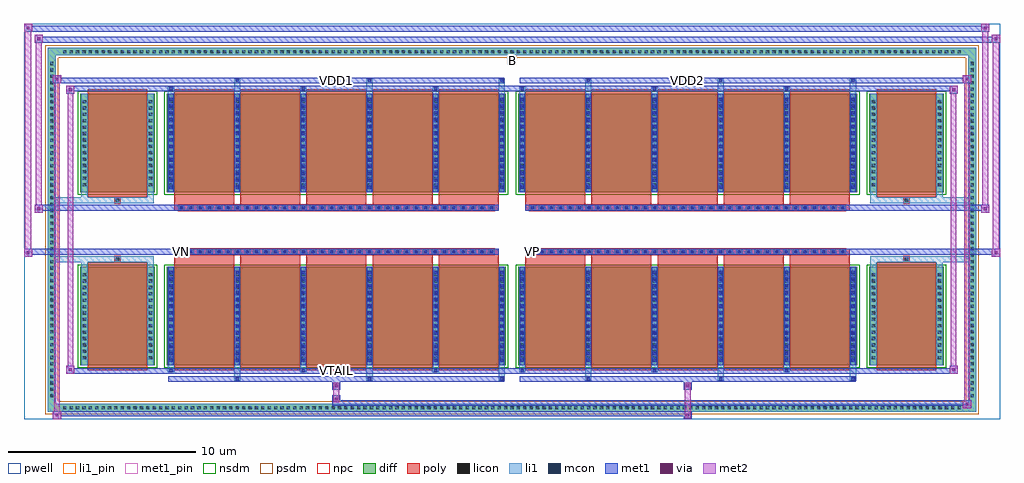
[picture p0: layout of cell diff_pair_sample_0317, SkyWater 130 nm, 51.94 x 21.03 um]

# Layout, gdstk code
import gdstk
lib = gdstk.Library(unit=1e-6, precision=5e-09)
def R(c, l, rs):  # rectangles x0, y0, x1, y1
    for r in rs: c.add(gdstk.rectangle(r[:2], r[2:], *l))
def A(c, l, x, y, w, h, nx, ny, dx, dy):  # array of equal rectangles
    R(c, l, [(x+i*dx, y+j*dy, x+i*dx+w, y+j*dy+h) for i in range(nx) for j in range(ny)])
def P(c, l, *ps):  # polygons
    for p in ps: c.add(gdstk.Polygon(p, *l))
pwell = (64, 44)
diff = (65, 20)
poly = (66, 20)
licon = (66, 44)
li1_pin = (67, 16)
li1 = (67, 20)
mcon = (67, 44)
met1_pin = (68, 16)
met1 = (68, 20)
via = (68, 44)
met2 = (69, 20)
nsdm = (93, 44)
psdm = (94, 20)
npc = (95, 20)

diff_pair_sample_0317 = lib.new_cell('diff_pair_sample_0317')
R(diff_pair_sample_0317, pwell, [(-25.97,-10.08,25.97,10.95), (-23.29,-8.27,-0.01,-0.805), (0.01,-8.27,23.29,-0.805), (-23.29,0.805,-0.01,8.27), (0.01,0.805,23.29,8.27)])
A(diff_pair_sample_0317, diff, -24.005, -9.68, 0.41, 0.41, 141, 2, 0.34, 18.95)
A(diff_pair_sample_0317, diff, -24.7, -9.045, 0.41, 0.41, 1, 53, 0, 0.34)
A(diff_pair_sample_0317, diff, 24.29, -9.045, 0.41, 0.41, 1, 53, 0, 0.34)
R(diff_pair_sample_0317, diff, [(-24.005,-9.68,24.005,-9.27), (-24.7,-9.045,-24.29,9.045), (24.29,-9.045,24.7,9.045), (-22.98,-7.225,-19.01,-1.985), (-18.37,-7.225,-0.32,-1.985), (0.32,-7.225,18.37,-1.985), (19.01,-7.225,22.98,-1.985), (-22.98,1.985,-19.01,7.225), (-18.37,1.985,-0.32,7.225), (0.32,1.985,18.37,7.225), (19.01,1.985,22.98,7.225), (-24.005,9.27,24.005,9.68)])
P(diff_pair_sample_0317, diff, [(24.7,9.68),(-24.7,9.68),(-24.7,-9.27),(-24.29,-9.27),(-24.29,9.27),(24.29,9.27),(24.29,-9.27),(-24.29,-9.27),(-24.7,-9.27),(-24.7,-9.68),(24.7,-9.68)])
A(diff_pair_sample_0317, poly, -17.98, -7.475, 3.19, 5.74, 5, 2, 3.52, 9.21)
A(diff_pair_sample_0317, poly, 0.71, -7.475, 3.19, 5.74, 5, 2, 3.52, 9.21)
A(diff_pair_sample_0317, poly, -17.98, -1.735, 3.19, 0.4, 5, 2, 3.52, 3.07)
A(diff_pair_sample_0317, poly, 0.71, -1.735, 3.19, 0.4, 5, 2, 3.52, 3.07)
A(diff_pair_sample_0317, poly, -17.76, -1.335, 0.33, 0.33, 34, 2, 0.5, 2.34)
A(diff_pair_sample_0317, poly, 0.93, -1.335, 0.33, 0.33, 34, 2, 0.5, 2.34)
R(diff_pair_sample_0317, poly, [(-22.59,-7.475,-19.4,-1.735), (19.4,-7.475,22.59,-1.735), (-21.16,-1.735,-20.83,-1.405), (-21.16,-1.735,-20.83,-1.405), (20.83,-1.735,21.16,-1.405), (20.83,-1.735,21.16,-1.405), (-17.98,-1.335,-0.71,-1.005), (0.71,-1.335,17.98,-1.005), (-17.98,1.005,-0.71,1.335), (0.71,1.005,17.98,1.335), (-21.16,1.405,-20.83,1.735), (-21.16,1.405,-20.83,1.735), (20.83,1.405,21.16,1.735), (20.83,1.405,21.16,1.735), (-22.59,1.735,-19.4,7.475), (19.4,1.735,22.59,7.475)])
A(diff_pair_sample_0317, licon, -23.885, -9.56, 0.17, 0.17, 141, 2, 0.34, 18.95)
A(diff_pair_sample_0317, licon, -24.58, -8.925, 0.17, 0.17, 1, 53, 0, 0.34)
A(diff_pair_sample_0317, licon, 24.41, -8.925, 0.17, 0.17, 1, 53, 0, 0.34)
A(diff_pair_sample_0317, licon, -22.84, -6.9, 0.17, 0.17, 1, 14, 0, 0.34)
A(diff_pair_sample_0317, licon, -19.32, -6.9, 0.17, 0.17, 1, 14, 0, 0.34)
A(diff_pair_sample_0317, licon, -18.23, -6.9, 0.17, 0.17, 6, 14, 3.52, 0.34)
A(diff_pair_sample_0317, licon, 0.46, -6.9, 0.17, 0.17, 6, 14, 3.52, 0.34)
A(diff_pair_sample_0317, licon, 19.15, -6.9, 0.17, 0.17, 1, 14, 0, 0.34)
A(diff_pair_sample_0317, licon, 22.67, -6.9, 0.17, 0.17, 1, 14, 0, 0.34)
A(diff_pair_sample_0317, licon, -17.68, -1.255, 0.17, 0.17, 34, 2, 0.5, 2.34)
A(diff_pair_sample_0317, licon, 1.01, -1.255, 0.17, 0.17, 34, 2, 0.5, 2.34)
A(diff_pair_sample_0317, licon, -22.84, 2.31, 0.17, 0.17, 1, 14, 0, 0.34)
A(diff_pair_sample_0317, licon, -19.32, 2.31, 0.17, 0.17, 1, 14, 0, 0.34)
A(diff_pair_sample_0317, licon, -18.23, 2.31, 0.17, 0.17, 6, 14, 3.52, 0.34)
A(diff_pair_sample_0317, licon, 0.46, 2.31, 0.17, 0.17, 6, 14, 3.52, 0.34)
A(diff_pair_sample_0317, licon, 19.15, 2.31, 0.17, 0.17, 1, 14, 0, 0.34)
A(diff_pair_sample_0317, licon, 22.67, 2.31, 0.17, 0.17, 1, 14, 0, 0.34)
R(diff_pair_sample_0317, licon, [(-21.08,-1.655,-20.91,-1.485), (20.91,-1.655,21.08,-1.485), (-21.08,1.485,-20.91,1.655), (20.91,1.485,21.08,1.655)])
R(diff_pair_sample_0317, li1_pin, [(-0.25,8.77,0.25,9.27)])
A(diff_pair_sample_0317, li1, -23.965, -9.64, 0.33, 0.33, 141, 2, 0.34, 18.95)
A(diff_pair_sample_0317, li1, -24.66, -9.005, 0.33, 0.33, 1, 53, 0, 0.34)
A(diff_pair_sample_0317, li1, 24.33, -9.005, 0.33, 0.33, 1, 53, 0, 0.34)
A(diff_pair_sample_0317, li1, -14.79, -8.03, 0.33, 0.805, 3, 2, 7.04, 15.255)
A(diff_pair_sample_0317, li1, -14.71, -8.03, 0.17, 0.17, 3, 2, 7.04, 15.89)
A(diff_pair_sample_0317, li1, 3.9, -8.03, 0.33, 0.805, 3, 2, 7.04, 15.255)
A(diff_pair_sample_0317, li1, 3.98, -8.03, 0.17, 0.17, 3, 2, 7.04, 15.89)
A(diff_pair_sample_0317, li1, -18.31, -7.6, 0.33, 0.375, 3, 2, 7.04, 14.825)
A(diff_pair_sample_0317, li1, -18.23, -7.6, 0.17, 0.17, 3, 2, 7.04, 15.03)
A(diff_pair_sample_0317, li1, 0.38, -7.6, 0.33, 0.375, 3, 2, 7.04, 14.825)
A(diff_pair_sample_0317, li1, 0.46, -7.6, 0.17, 0.17, 3, 2, 7.04, 15.03)
A(diff_pair_sample_0317, li1, -18.31, -7.225, 0.33, 5.24, 6, 2, 3.52, 9.21)
A(diff_pair_sample_0317, li1, 0.38, -7.225, 0.33, 5.24, 6, 2, 3.52, 9.21)
A(diff_pair_sample_0317, li1, -18.23, -7.03, 0.17, 0.17, 6, 14, 3.52, 0.36)
A(diff_pair_sample_0317, li1, -18.23, -7.03, 0.17, 4.85, 6, 2, 3.52, 9.21)
A(diff_pair_sample_0317, li1, 0.46, -7.03, 0.17, 0.17, 6, 14, 3.52, 0.36)
A(diff_pair_sample_0317, li1, 0.46, -7.03, 0.17, 4.85, 6, 2, 3.52, 9.21)
A(diff_pair_sample_0317, li1, -22.92, -6.98, 0.33, 0.33, 1, 14, 0, 0.34)
A(diff_pair_sample_0317, li1, -19.4, -6.98, 0.33, 0.33, 1, 14, 0, 0.34)
A(diff_pair_sample_0317, li1, -18.31, -6.98, 0.33, 0.33, 6, 14, 3.52, 0.34)
A(diff_pair_sample_0317, li1, 0.38, -6.98, 0.33, 0.33, 6, 14, 3.52, 0.34)
A(diff_pair_sample_0317, li1, 19.07, -6.98, 0.33, 0.33, 1, 14, 0, 0.34)
A(diff_pair_sample_0317, li1, 22.59, -6.98, 0.33, 0.33, 1, 14, 0, 0.34)
A(diff_pair_sample_0317, li1, -17.76, -1.335, 0.33, 0.33, 34, 2, 0.5, 2.34)
A(diff_pair_sample_0317, li1, 0.93, -1.335, 0.33, 0.33, 34, 2, 0.5, 2.34)
A(diff_pair_sample_0317, li1, -18.23, 2.18, 0.17, 0.17, 6, 14, 3.52, 0.36)
A(diff_pair_sample_0317, li1, 0.46, 2.18, 0.17, 0.17, 6, 14, 3.52, 0.36)
A(diff_pair_sample_0317, li1, -22.92, 2.23, 0.33, 0.33, 1, 14, 0, 0.34)
A(diff_pair_sample_0317, li1, -19.4, 2.23, 0.33, 0.33, 1, 14, 0, 0.34)
A(diff_pair_sample_0317, li1, -18.31, 2.23, 0.33, 0.33, 6, 14, 3.52, 0.34)
A(diff_pair_sample_0317, li1, 0.38, 2.23, 0.33, 0.33, 6, 14, 3.52, 0.34)
A(diff_pair_sample_0317, li1, 19.07, 2.23, 0.33, 0.33, 1, 14, 0, 0.34)
A(diff_pair_sample_0317, li1, 22.59, 2.23, 0.33, 0.33, 1, 14, 0, 0.34)
R(diff_pair_sample_0317, li1, [(-24.7,-9.68,-24.29,-9.27), (-24.7,-9.68,-24.29,-9.27), (-24.29,-9.68,24.29,-9.27), (24.29,-9.68,24.7,-9.27), (24.29,-9.68,24.7,-9.27), (-24.7,-9.27,-24.29,9.27), (24.29,-9.27,24.7,9.27), (-22.92,-7.225,-22.59,-1.985), (-19.4,-7.225,-19.07,-1.985), (19.07,-7.225,19.4,-1.985), (22.59,-7.225,22.92,-1.985), (-22.92,-1.985,-22.59,-1.405), (-19.4,-1.985,-19.07,-1.405), (19.07,-1.985,19.4,-1.405), (22.59,-1.985,22.92,-1.405), (-24.7,-1.735,-21.16,-1.405), (-22.92,-1.735,-21.16,-1.405), (-21.16,-1.735,-20.83,-1.405), (-20.83,-1.735,-19.07,-1.405), (19.07,-1.735,20.83,-1.405), (20.83,-1.735,21.16,-1.405), (20.83,-1.735,24.7,-1.405), (21.16,-1.735,22.92,-1.405), (-24.7,1.405,-21.16,1.735), (-22.92,1.405,-21.16,1.735), (-22.92,1.405,-22.59,1.985), (-21.16,1.405,-20.83,1.735), (-20.83,1.405,-19.07,1.735), (-19.4,1.405,-19.07,1.985), (19.07,1.405,20.83,1.735), (19.07,1.405,19.4,1.985), (20.83,1.405,21.16,1.735), (20.83,1.405,24.7,1.735), (21.16,1.405,22.92,1.735), (22.59,1.405,22.92,1.985), (-22.92,1.985,-22.59,7.225), (-19.4,1.985,-19.07,7.225), (19.07,1.985,19.4,7.225), (22.59,1.985,22.92,7.225), (-24.7,9.27,-24.29,9.68), (-24.7,9.27,-24.29,9.68), (-24.29,9.27,24.29,9.68), (24.29,9.27,24.7,9.68), (24.29,9.27,24.7,9.68)])
A(diff_pair_sample_0317, mcon, -14.71, -8.03, 0.17, 0.17, 3, 2, 7.04, 15.89)
A(diff_pair_sample_0317, mcon, 3.98, -8.03, 0.17, 0.17, 3, 2, 7.04, 15.89)
A(diff_pair_sample_0317, mcon, -18.23, -7.6, 0.17, 0.17, 3, 2, 7.04, 15.03)
A(diff_pair_sample_0317, mcon, 0.46, -7.6, 0.17, 0.17, 3, 2, 7.04, 15.03)
A(diff_pair_sample_0317, mcon, -18.23, -7.03, 0.17, 0.17, 6, 14, 3.52, 0.36)
A(diff_pair_sample_0317, mcon, 0.46, -7.03, 0.17, 0.17, 6, 14, 3.52, 0.36)
A(diff_pair_sample_0317, mcon, -17.68, -1.255, 0.17, 0.17, 34, 2, 0.5, 2.34)
A(diff_pair_sample_0317, mcon, 1.01, -1.255, 0.17, 0.17, 34, 2, 0.5, 2.34)
A(diff_pair_sample_0317, mcon, -18.23, 2.18, 0.17, 0.17, 6, 14, 3.52, 0.36)
A(diff_pair_sample_0317, mcon, 0.46, 2.18, 0.17, 0.17, 6, 14, 3.52, 0.36)
R(diff_pair_sample_0317, met1_pin, [(-9.48,-7.64,-9.21,-7.37), (-17.73,-1.295,-17.46,-1.025), (0.96,-1.295,1.23,-1.025), (-9.48,7.82,-9.21,8.09), (9.21,7.82,9.48,8.09)])
A(diff_pair_sample_0317, met1, -14.77, -8.09, 0.29, 0.29, 3, 2, 7.04, 15.89)
A(diff_pair_sample_0317, met1, 3.92, -8.09, 0.29, 0.29, 3, 2, 7.04, 15.89)
A(diff_pair_sample_0317, met1, -18.29, -7.66, 0.29, 0.29, 3, 2, 7.04, 15.03)
A(diff_pair_sample_0317, met1, 0.4, -7.66, 0.29, 0.29, 3, 2, 7.04, 15.03)
A(diff_pair_sample_0317, met1, -18.29, -7.225, 0.29, 5.24, 6, 2, 3.52, 9.21)
A(diff_pair_sample_0317, met1, 0.4, -7.225, 0.29, 5.24, 6, 2, 3.52, 9.21)
A(diff_pair_sample_0317, met1, -18.29, -7.09, 0.29, 0.29, 6, 14, 3.52, 0.36)
A(diff_pair_sample_0317, met1, 0.4, -7.09, 0.29, 0.29, 6, 14, 3.52, 0.36)
A(diff_pair_sample_0317, met1, -17.74, -1.315, 0.29, 0.29, 34, 2, 0.5, 2.34)
A(diff_pair_sample_0317, met1, 0.95, -1.315, 0.29, 0.29, 34, 2, 0.5, 2.34)
A(diff_pair_sample_0317, met1, -18.29, 2.12, 0.29, 0.29, 6, 14, 3.52, 0.36)
A(diff_pair_sample_0317, met1, 0.4, 2.12, 0.29, 0.29, 6, 14, 3.52, 0.36)
R(diff_pair_sample_0317, met1, [(-24.43,-10.08,-24,-9.65), (9.13,-10.08,9.56,-9.65), (-24.43,-9.94,9.56,-9.65), (24,-9.51,24.43,-9.08), (-9.56,-9.37,24.43,-9.08), (-9.56,-9.23,-9.13,-8.8), (-9.56,-8.52,-9.13,-8.09), (9.13,-8.52,9.56,-8.09), (-18.29,-8.09,-0.4,-7.8), (0.4,-8.09,18.29,-7.8), (-23.72,-7.66,-23.29,-7.23), (-23.72,-7.66,-18.29,-7.37), (-18.29,-7.66,-0.4,-7.37), (-0.4,-7.66,0.4,-7.37), (0.4,-7.66,18.29,-7.37), (18.29,-7.66,23.72,-7.37), (23.29,-7.66,23.72,-7.23), (-25.97,-1.435,-25.54,-1.005), (25.54,-1.435,25.97,-1.005), (-25.97,-1.335,-0.71,-1.005), (-17.98,-1.335,-0.71,-1.005), (0.71,-1.335,17.98,-1.005), (0.71,-1.335,25.97,-1.005), (-25.4,0.905,-24.97,1.335), (24.97,0.905,25.4,1.335), (-25.4,1.005,-17.98,1.335), (-17.98,1.005,-0.71,1.335), (0.71,1.005,17.98,1.335), (17.98,1.005,25.4,1.335), (-23.72,7.23,-23.29,7.66), (23.29,7.23,23.72,7.66), (-23.72,7.37,-18.29,7.66), (-18.29,7.37,-0.4,7.66), (-0.4,7.37,0.4,7.66), (0.4,7.37,18.29,7.66), (18.29,7.37,23.72,7.66), (-24.43,7.8,-24,8.23), (-24.43,7.8,-18.29,8.09), (-18.29,7.8,-0.4,8.09), (0.4,7.8,18.29,8.09), (18.29,7.8,24.43,8.09), (24,7.8,24.43,8.23), (-25.4,9.95,-24.97,10.38), (-25.4,9.95,-23.29,10.28), (-23.29,9.95,23.29,10.28), (23.29,9.95,25.97,10.28), (25.54,9.95,25.97,10.38), (-25.97,10.52,-25.54,10.95), (-25.97,10.52,-23.29,10.85), (-23.29,10.52,23.29,10.85), (23.29,10.52,25.4,10.85), (24.97,10.52,25.4,10.95)])
R(diff_pair_sample_0317, via, [(-24.29,-9.94,-24.14,-9.79), (9.27,-9.94,9.42,-9.79), (24.14,-9.37,24.29,-9.22), (-9.42,-9.09,-9.27,-8.94), (-9.42,-8.38,-9.27,-8.23), (9.27,-8.38,9.42,-8.23), (-23.58,-7.52,-23.43,-7.37), (23.43,-7.52,23.58,-7.37), (-25.83,-1.295,-25.68,-1.145), (25.68,-1.295,25.83,-1.145), (-25.26,1.045,-25.11,1.195), (25.11,1.045,25.26,1.195), (-23.58,7.37,-23.43,7.52), (23.43,7.37,23.58,7.52), (-24.29,7.94,-24.14,8.09), (24.14,7.94,24.29,8.09), (-25.26,10.09,-25.11,10.24), (25.68,10.09,25.83,10.24), (-25.83,10.66,-25.68,10.81), (25.11,10.66,25.26,10.81)])
R(diff_pair_sample_0317, met2, [(-24.43,-10.08,-24,-9.65), (-24.36,-10.08,-24.07,8.23), (-24.07,-10.08,-24,-9.65), (-24.38,-10.03,-24.05,-9.7), (9.18,-10.03,9.51,-9.7), (9.18,-9.7,9.51,-8.47), (24,-9.51,24.43,-9.08), (24.07,-9.51,24.36,8.23), (24.36,-9.51,24.43,-9.08), (24.05,-9.46,24.38,-9.13), (-9.51,-9.18,-9.18,-8.85), (-9.51,-8.85,-9.18,-8.47), (-9.51,-8.47,-9.18,-8.14), (9.18,-8.47,9.51,-8.14), (-23.72,-7.66,-23.29,-7.23), (-23.65,-7.66,-23.36,7.66), (-23.36,-7.66,-23.29,-7.23), (23.29,-7.66,23.72,-7.23), (23.36,-7.66,23.65,7.66), (23.65,-7.66,23.72,-7.23), (-23.67,-7.61,-23.34,-7.28), (23.34,-7.61,23.67,-7.28), (-25.97,-1.435,-25.54,-1.005), (-25.92,-1.435,-25.59,10.95), (-25.59,-1.435,-25.54,-1.005), (25.54,-1.435,25.97,-1.005), (25.59,-1.435,25.92,10.38), (25.92,-1.435,25.97,-1.005), (-25.92,-1.385,-25.59,-1.055), (25.59,-1.385,25.92,-1.055), (-25.4,0.905,-24.97,1.335), (-25.35,0.905,-25.02,10.38), (-25.02,0.905,-24.97,1.335), (24.97,0.905,25.4,1.335), (25.02,0.905,25.35,10.95), (25.35,0.905,25.4,1.335), (-25.35,0.955,-25.02,1.285), (25.02,0.955,25.35,1.285), (-23.72,7.23,-23.29,7.66), (-23.36,7.23,-23.29,7.66), (23.29,7.23,23.72,7.66), (23.65,7.23,23.72,7.66), (-23.67,7.28,-23.34,7.61), (23.34,7.28,23.67,7.61), (-24.43,7.8,-24,8.23), (-24.07,7.8,-24,8.23), (24,7.8,24.43,8.23), (24.36,7.8,24.43,8.23), (-24.38,7.85,-24.05,8.18), (24.05,7.85,24.38,8.18), (-25.4,9.95,-24.97,10.38), (-25.02,9.95,-24.97,10.38), (25.54,9.95,25.97,10.38), (25.92,9.95,25.97,10.38), (-25.35,10,-25.02,10.33), (25.59,10,25.92,10.33), (-25.97,10.52,-25.54,10.95), (-25.59,10.52,-25.54,10.95), (24.97,10.52,25.4,10.95), (25.35,10.52,25.4,10.95), (-25.92,10.57,-25.59,10.9), (25.02,10.57,25.35,10.9)])
R(diff_pair_sample_0317, nsdm, [(-23.11,-7.355,-18.88,-1.855), (-18.5,-7.355,-0.19,-1.855), (0.19,-7.355,18.5,-1.855), (18.88,-7.355,23.11,-1.855), (-23.11,1.855,-18.88,7.355), (-18.5,1.855,-0.19,7.355), (0.19,1.855,18.5,7.355), (18.88,1.855,23.11,7.355)])
P(diff_pair_sample_0317, psdm, [(24.83,9.81),(-24.83,9.81),(-24.83,-9.14),(-24.16,-9.14),(-24.16,9.14),(24.16,9.14),(24.16,-9.14),(-24.16,-9.14),(-24.83,-9.14),(-24.83,-9.81),(24.83,-9.81)])
A(diff_pair_sample_0317, npc, -17.78, -1.355, 0.37, 0.37, 34, 2, 0.5, 2.34)
A(diff_pair_sample_0317, npc, 0.91, -1.355, 0.37, 0.37, 34, 2, 0.5, 2.34)
R(diff_pair_sample_0317, npc, [(-21.18,-1.755,-20.81,-1.385), (20.81,-1.755,21.18,-1.385), (-17.78,-1.355,-16.91,-0.985), (-17.78,-1.355,-16.91,-0.985), (-17.28,-1.355,-16.41,-0.985), (-17.28,-1.355,-16.41,-0.985), (-16.78,-1.355,-15.91,-0.985), (-16.78,-1.355,-15.91,-0.985), (-16.28,-1.355,-15.41,-0.985), (-16.28,-1.355,-15.41,-0.985), (-15.78,-1.355,-14.91,-0.985), (-15.78,-1.355,-14.91,-0.985), (-15.28,-1.355,-14.41,-0.985), (-15.28,-1.355,-14.41,-0.985), (-14.78,-1.355,-13.91,-0.985), (-14.78,-1.355,-13.91,-0.985), (-14.28,-1.355,-13.41,-0.985), (-14.28,-1.355,-13.41,-0.985), (-13.78,-1.355,-12.91,-0.985), (-13.78,-1.355,-12.91,-0.985), (-13.28,-1.355,-12.41,-0.985), (-13.28,-1.355,-12.41,-0.985), (-12.78,-1.355,-11.91,-0.985), (-12.78,-1.355,-11.91,-0.985), (-12.28,-1.355,-11.41,-0.985), (-12.28,-1.355,-11.41,-0.985), (-11.78,-1.355,-10.91,-0.985), (-11.78,-1.355,-10.91,-0.985), (-11.28,-1.355,-10.41,-0.985), (-11.28,-1.355,-10.41,-0.985), (-10.78,-1.355,-9.91,-0.985), (-10.78,-1.355,-9.91,-0.985), (-10.28,-1.355,-9.41,-0.985), (-10.28,-1.355,-9.41,-0.985), (-9.78,-1.355,-8.91,-0.985), (-9.78,-1.355,-8.91,-0.985), (-9.28,-1.355,-8.41,-0.985), (-9.28,-1.355,-8.41,-0.985), (-8.78,-1.355,-7.91,-0.985), (-8.78,-1.355,-7.91,-0.985), (-8.28,-1.355,-7.41,-0.985), (-8.28,-1.355,-7.41,-0.985), (-7.78,-1.355,-6.91,-0.985), (-7.78,-1.355,-6.91,-0.985), (-7.28,-1.355,-6.41,-0.985), (-7.28,-1.355,-6.41,-0.985), (-6.78,-1.355,-5.91,-0.985), (-6.78,-1.355,-5.91,-0.985), (-6.28,-1.355,-5.41,-0.985), (-6.28,-1.355,-5.41,-0.985), (-5.78,-1.355,-4.91,-0.985), (-5.78,-1.355,-4.91,-0.985), (-5.28,-1.355,-4.41,-0.985), (-5.28,-1.355,-4.41,-0.985), (-4.78,-1.355,-3.91,-0.985), (-4.78,-1.355,-3.91,-0.985), (-4.28,-1.355,-3.41,-0.985), (-4.28,-1.355,-3.41,-0.985), (-3.78,-1.355,-2.91,-0.985), (-3.78,-1.355,-2.91,-0.985), (-3.28,-1.355,-2.41,-0.985), (-3.28,-1.355,-2.41,-0.985), (-2.78,-1.355,-1.91,-0.985), (-2.78,-1.355,-1.91,-0.985), (-2.28,-1.355,-1.41,-0.985), (-2.28,-1.355,-1.41,-0.985), (-1.78,-1.355,-0.91,-0.985), (-1.78,-1.355,-0.91,-0.985), (0.91,-1.355,1.78,-0.985), (0.91,-1.355,1.78,-0.985), (1.41,-1.355,2.28,-0.985), (1.41,-1.355,2.28,-0.985), (1.91,-1.355,2.78,-0.985), (1.91,-1.355,2.78,-0.985), (2.41,-1.355,3.28,-0.985), (2.41,-1.355,3.28,-0.985), (2.91,-1.355,3.78,-0.985), (2.91,-1.355,3.78,-0.985), (3.41,-1.355,4.28,-0.985), (3.41,-1.355,4.28,-0.985), (3.91,-1.355,4.78,-0.985), (3.91,-1.355,4.78,-0.985), (4.41,-1.355,5.28,-0.985), (4.41,-1.355,5.28,-0.985), (4.91,-1.355,5.78,-0.985), (4.91,-1.355,5.78,-0.985), (5.41,-1.355,6.28,-0.985), (5.41,-1.355,6.28,-0.985), (5.91,-1.355,6.78,-0.985), (5.91,-1.355,6.78,-0.985), (6.41,-1.355,7.28,-0.985), (6.41,-1.355,7.28,-0.985), (6.91,-1.355,7.78,-0.985), (6.91,-1.355,7.78,-0.985), (7.41,-1.355,8.28,-0.985), (7.41,-1.355,8.28,-0.985), (7.91,-1.355,8.78,-0.985), (7.91,-1.355,8.78,-0.985), (8.41,-1.355,9.28,-0.985), (8.41,-1.355,9.28,-0.985), (8.91,-1.355,9.78,-0.985), (8.91,-1.355,9.78,-0.985), (9.41,-1.355,10.28,-0.985), (9.41,-1.355,10.28,-0.985), (9.91,-1.355,10.78,-0.985), (9.91,-1.355,10.78,-0.985), (10.41,-1.355,11.28,-0.985), (10.41,-1.355,11.28,-0.985), (10.91,-1.355,11.78,-0.985), (10.91,-1.355,11.78,-0.985), (11.41,-1.355,12.28,-0.985), (11.41,-1.355,12.28,-0.985), (11.91,-1.355,12.78,-0.985), (11.91,-1.355,12.78,-0.985), (12.41,-1.355,13.28,-0.985), (12.41,-1.355,13.28,-0.985), (12.91,-1.355,13.78,-0.985), (12.91,-1.355,13.78,-0.985), (13.41,-1.355,14.28,-0.985), (13.41,-1.355,14.28,-0.985), (13.91,-1.355,14.78,-0.985), (13.91,-1.355,14.78,-0.985), (14.41,-1.355,15.28,-0.985), (14.41,-1.355,15.28,-0.985), (14.91,-1.355,15.78,-0.985), (14.91,-1.355,15.78,-0.985), (15.41,-1.355,16.28,-0.985), (15.41,-1.355,16.28,-0.985), (15.91,-1.355,16.78,-0.985), (15.91,-1.355,16.78,-0.985), (16.41,-1.355,17.28,-0.985), (16.41,-1.355,17.28,-0.985), (16.91,-1.355,17.78,-0.985), (16.91,-1.355,17.78,-0.985), (-17.78,0.985,-16.91,1.355), (-17.78,0.985,-16.91,1.355), (-17.28,0.985,-16.41,1.355), (-17.28,0.985,-16.41,1.355), (-16.78,0.985,-15.91,1.355), (-16.78,0.985,-15.91,1.355), (-16.28,0.985,-15.41,1.355), (-16.28,0.985,-15.41,1.355), (-15.78,0.985,-14.91,1.355), (-15.78,0.985,-14.91,1.355), (-15.28,0.985,-14.41,1.355), (-15.28,0.985,-14.41,1.355), (-14.78,0.985,-13.91,1.355), (-14.78,0.985,-13.91,1.355), (-14.28,0.985,-13.41,1.355), (-14.28,0.985,-13.41,1.355), (-13.78,0.985,-12.91,1.355), (-13.78,0.985,-12.91,1.355), (-13.28,0.985,-12.41,1.355), (-13.28,0.985,-12.41,1.355), (-12.78,0.985,-11.91,1.355), (-12.78,0.985,-11.91,1.355), (-12.28,0.985,-11.41,1.355), (-12.28,0.985,-11.41,1.355), (-11.78,0.985,-10.91,1.355), (-11.78,0.985,-10.91,1.355), (-11.28,0.985,-10.41,1.355), (-11.28,0.985,-10.41,1.355), (-10.78,0.985,-9.91,1.355), (-10.78,0.985,-9.91,1.355), (-10.28,0.985,-9.41,1.355), (-10.28,0.985,-9.41,1.355), (-9.78,0.985,-8.91,1.355), (-9.78,0.985,-8.91,1.355), (-9.28,0.985,-8.41,1.355), (-9.28,0.985,-8.41,1.355), (-8.78,0.985,-7.91,1.355), (-8.78,0.985,-7.91,1.355), (-8.28,0.985,-7.41,1.355), (-8.28,0.985,-7.41,1.355), (-7.78,0.985,-6.91,1.355), (-7.78,0.985,-6.91,1.355), (-7.28,0.985,-6.41,1.355), (-7.28,0.985,-6.41,1.355), (-6.78,0.985,-5.91,1.355), (-6.78,0.985,-5.91,1.355), (-6.28,0.985,-5.41,1.355), (-6.28,0.985,-5.41,1.355), (-5.78,0.985,-4.91,1.355), (-5.78,0.985,-4.91,1.355), (-5.28,0.985,-4.41,1.355), (-5.28,0.985,-4.41,1.355), (-4.78,0.985,-3.91,1.355), (-4.78,0.985,-3.91,1.355), (-4.28,0.985,-3.41,1.355), (-4.28,0.985,-3.41,1.355), (-3.78,0.985,-2.91,1.355), (-3.78,0.985,-2.91,1.355), (-3.28,0.985,-2.41,1.355), (-3.28,0.985,-2.41,1.355), (-2.78,0.985,-1.91,1.355), (-2.78,0.985,-1.91,1.355), (-2.28,0.985,-1.41,1.355), (-2.28,0.985,-1.41,1.355), (-1.78,0.985,-0.91,1.355), (-1.78,0.985,-0.91,1.355), (0.91,0.985,1.78,1.355), (0.91,0.985,1.78,1.355), (1.41,0.985,2.28,1.355), (1.41,0.985,2.28,1.355), (1.91,0.985,2.78,1.355), (1.91,0.985,2.78,1.355), (2.41,0.985,3.28,1.355), (2.41,0.985,3.28,1.355), (2.91,0.985,3.78,1.355), (2.91,0.985,3.78,1.355), (3.41,0.985,4.28,1.355), (3.41,0.985,4.28,1.355), (3.91,0.985,4.78,1.355), (3.91,0.985,4.78,1.355), (4.41,0.985,5.28,1.355), (4.41,0.985,5.28,1.355), (4.91,0.985,5.78,1.355), (4.91,0.985,5.78,1.355), (5.41,0.985,6.28,1.355), (5.41,0.985,6.28,1.355), (5.91,0.985,6.78,1.355), (5.91,0.985,6.78,1.355), (6.41,0.985,7.28,1.355), (6.41,0.985,7.28,1.355), (6.91,0.985,7.78,1.355), (6.91,0.985,7.78,1.355), (7.41,0.985,8.28,1.355), (7.41,0.985,8.28,1.355), (7.91,0.985,8.78,1.355), (7.91,0.985,8.78,1.355), (8.41,0.985,9.28,1.355), (8.41,0.985,9.28,1.355), (8.91,0.985,9.78,1.355), (8.91,0.985,9.78,1.355), (9.41,0.985,10.28,1.355), (9.41,0.985,10.28,1.355), (9.91,0.985,10.78,1.355), (9.91,0.985,10.78,1.355), (10.41,0.985,11.28,1.355), (10.41,0.985,11.28,1.355), (10.91,0.985,11.78,1.355), (10.91,0.985,11.78,1.355), (11.41,0.985,12.28,1.355), (11.41,0.985,12.28,1.355), (11.91,0.985,12.78,1.355), (11.91,0.985,12.78,1.355), (12.41,0.985,13.28,1.355), (12.41,0.985,13.28,1.355), (12.91,0.985,13.78,1.355), (12.91,0.985,13.78,1.355), (13.41,0.985,14.28,1.355), (13.41,0.985,14.28,1.355), (13.91,0.985,14.78,1.355), (13.91,0.985,14.78,1.355), (14.41,0.985,15.28,1.355), (14.41,0.985,15.28,1.355), (14.91,0.985,15.78,1.355), (14.91,0.985,15.78,1.355), (15.41,0.985,16.28,1.355), (15.41,0.985,16.28,1.355), (15.91,0.985,16.78,1.355), (15.91,0.985,16.78,1.355), (16.41,0.985,17.28,1.355), (16.41,0.985,17.28,1.355), (16.91,0.985,17.78,1.355), (16.91,0.985,17.78,1.355), (-21.18,1.385,-20.81,1.755), (20.81,1.385,21.18,1.755)])
diff_pair_sample_0317.add(gdstk.Label('VTAIL', (-9.345,-7.505), layer=68, texttype=5))
diff_pair_sample_0317.add(gdstk.Label('VN', (-17.595,-1.16), layer=68, texttype=5))
diff_pair_sample_0317.add(gdstk.Label('VP', (1.095,-1.16), layer=68, texttype=5))
diff_pair_sample_0317.add(gdstk.Label('B', (0,9.02), layer=67, texttype=5))
diff_pair_sample_0317.add(gdstk.Label('VDD2', (9.345,7.955), layer=68, texttype=5))
diff_pair_sample_0317.add(gdstk.Label('VDD1', (-9.345,7.955), layer=68, texttype=5))

lib.write_gds('diff_pair_sample_0317.gds')
